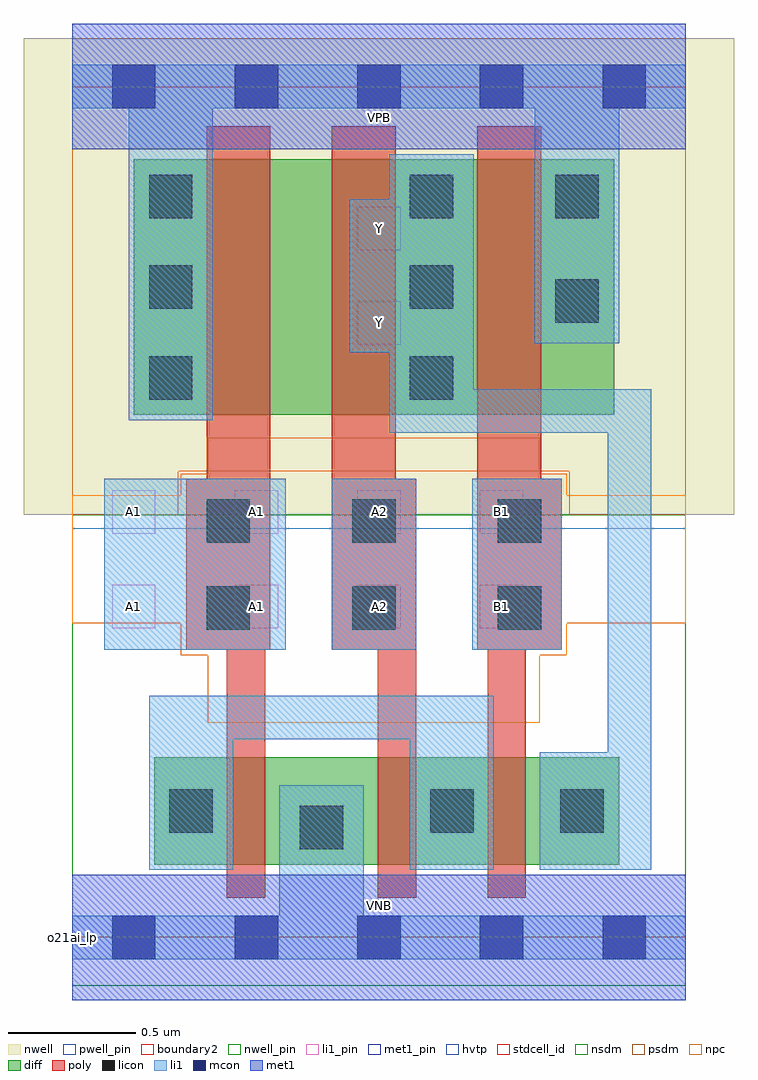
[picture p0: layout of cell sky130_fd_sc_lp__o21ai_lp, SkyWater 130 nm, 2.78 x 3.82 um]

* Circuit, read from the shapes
.subckt sky130_fd_sc_lp__o21ai_lp A1 A2 B1 VGND VNB VPB VPWR Y
XM1 VGND A1 n1 VNB sky130_fd_pr__nfet_01v8 w=0.42 l=0.15
XM2 n1 A2 VGND VNB sky130_fd_pr__nfet_01v8 w=0.42 l=0.15
XM3 Y B1 n1 VNB sky130_fd_pr__nfet_01v8 w=0.42 l=0.15
XM4 n2 A1 VPWR VPB sky130_fd_pr__pfet_01v8_hvt w=1 l=0.25
XM5 Y A2 n2 VPB sky130_fd_pr__pfet_01v8_hvt w=1 l=0.25
XM6 VPWR B1 Y VPB sky130_fd_pr__pfet_01v8_hvt w=1 l=0.25
.ends

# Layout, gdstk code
import gdstk
lib = gdstk.Library(unit=1e-6, precision=1e-09)
def R(c, l, rs):  # rectangles x0, y0, x1, y1
    for r in rs: c.add(gdstk.rectangle(r[:2], r[2:], *l))
def A(c, l, x, y, w, h, nx, ny, dx, dy):  # array of equal rectangles
    R(c, l, [(x+i*dx, y+j*dy, x+i*dx+w, y+j*dy+h) for i in range(nx) for j in range(ny)])
def P(c, l, *ps):  # polygons
    for p in ps: c.add(gdstk.Polygon(p, *l))
nwell_pin = (64, 16)
nwell = (64, 20)
diff = (65, 20)
poly = (66, 20)
licon = (66, 44)
li1_pin = (67, 16)
li1 = (67, 20)
mcon = (67, 44)
met1_pin = (68, 16)
met1 = (68, 20)
hvtp = (78, 44)
stdcell_id = (81, 4)
nsdm = (93, 44)
psdm = (94, 20)
npc = (95, 20)
pwell_pin = (122, 16)
boundary2 = (236, 0)

sky130_fd_sc_lp__o21ai_l = lib.new_cell('sky130_fd_sc_lp__o21ai_lp')
R(sky130_fd_sc_lp__o21ai_l, nwell_pin, [(0,3.085,2.4,3.33)])
R(sky130_fd_sc_lp__o21ai_l, nwell, [(-0.19,1.655,2.59,3.52)])
R(sky130_fd_sc_lp__o21ai_l, diff, [(0.32,0.285,2.14,0.705), (0.24,2.045,2.12,3.045)])
P(sky130_fd_sc_lp__o21ai_l, poly, [(0.775,3.175),(0.525,3.175),(0.525,1.795),(0.445,1.795),(0.445,1.125),(0.605,1.125),(0.605,0.155),(0.755,0.155),(0.755,1.125),(0.775,1.125)],
  [(1.345,1.795),(1.265,1.795),(1.265,3.175),(1.015,3.175),(1.015,1.125),(1.195,1.125),(1.195,0.155),(1.345,0.155)],
  [(1.915,1.795),(1.835,1.795),(1.835,3.175),(1.585,3.175),(1.585,1.125),(1.625,1.125),(1.625,0.155),(1.775,0.155),(1.775,1.125),(1.915,1.125)])
A(sky130_fd_sc_lp__o21ai_l, licon, 0.525, 1.205, 0.17, 0.17, 3, 2, 0.57, 0.34)
A(sky130_fd_sc_lp__o21ai_l, licon, 0.3, 2.105, 0.17, 0.17, 1, 3, 0, 0.355)
A(sky130_fd_sc_lp__o21ai_l, licon, 1.32, 2.105, 0.17, 0.17, 1, 3, 0, 0.355)
R(sky130_fd_sc_lp__o21ai_l, licon, [(0.89,0.345,1.06,0.515), (0.38,0.41,0.55,0.58), (1.4,0.41,1.57,0.58), (1.91,0.41,2.08,0.58), (1.89,2.405,2.06,2.575), (1.89,2.815,2.06,2.985)])
A(sky130_fd_sc_lp__o21ai_l, li1_pin, 0.155, 1.21, 0.17, 0.17, 4, 2, 0.48, 0.37)
R(sky130_fd_sc_lp__o21ai_l, li1_pin, [(1.115,2.32,1.285,2.49), (1.115,2.69,1.285,2.86)])
R(sky130_fd_sc_lp__o21ai_l, li1, [(0.125,1.125,0.835,1.795), (1.015,1.125,1.345,1.795), (1.565,1.125,1.915,1.795)])
P(sky130_fd_sc_lp__o21ai_l, li1, [(1.81,2.325),(1.81,3.245),(0.55,3.245),(0.55,2.025),(0.22,2.025),(0.22,3.245),(0,3.245),(0,3.415),(2.4,3.415),(2.4,3.245),(2.14,3.245),(2.14,2.325)],
  [(0.81,0.085),(0.81,0.595),(1.14,0.595),(1.14,0.085),(2.4,0.085),(2.4,-0.085),(0,-0.085),(0,0.085)],
  [(1.57,2.145),(2.265,2.145),(2.265,0.265),(1.83,0.265),(1.83,0.725),(2.095,0.725),(2.095,1.975),(1.24,1.975),(1.24,2.29),(1.085,2.29),(1.085,2.89),(1.24,2.89),(1.24,3.065),(1.57,3.065)],
  [(1.32,0.265),(1.32,0.775),(0.63,0.775),(0.63,0.265),(0.3,0.265),(0.3,0.945),(1.65,0.945),(1.65,0.265)])
A(sky130_fd_sc_lp__o21ai_l, mcon, 0.155, -0.085, 0.17, 0.17, 5, 2, 0.48, 3.33)
R(sky130_fd_sc_lp__o21ai_l, met1_pin, [(0,0,2.4,0.245), (0,3.085,2.4,3.33)])
R(sky130_fd_sc_lp__o21ai_l, met1, [(0,-0.245,2.4,0.245), (0,3.085,2.4,3.575)])
R(sky130_fd_sc_lp__o21ai_l, hvtp, [(0,1.6,2.4,3.33)])
R(sky130_fd_sc_lp__o21ai_l, stdcell_id, [(0,0,2.4,3.33)])
R(sky130_fd_sc_lp__o21ai_l, nsdm, [(0,-0.19,2.4,1.655)])
P(sky130_fd_sc_lp__o21ai_l, psdm, [(2.4,3.52),(0,3.52),(0,1.655),(0.415,1.655),(0.415,1.825),(1.945,1.825),(1.945,1.655),(2.4,1.655)])
P(sky130_fd_sc_lp__o21ai_l, npc, [(2.4,1.73),(1.935,1.73),(1.935,1.815),(1.83,1.815),(1.83,1.955),(0.53,1.955),(0.53,1.815),(0.425,1.815),(0.425,1.73),(0,1.73),(0,1.23),(0.425,1.23),(0.425,1.105),(0.53,1.105),(0.53,0.84),(1.83,0.84),(1.83,1.105),(1.935,1.105),(1.935,1.23),(2.4,1.23)])
R(sky130_fd_sc_lp__o21ai_l, pwell_pin, [(0,0,2.4,0.245)])
R(sky130_fd_sc_lp__o21ai_l, boundary2, [(0,0,2.4,3.33)])
sky130_fd_sc_lp__o21ai_l.add(gdstk.Label('VNB', (1.2,0.123), layer=64, texttype=59))
sky130_fd_sc_lp__o21ai_l.add(gdstk.Label('VPB', (1.2,3.208), layer=64, texttype=5))
sky130_fd_sc_lp__o21ai_l.add(gdstk.Label('o21ai_lp', (0,0), layer=83, texttype=44))
sky130_fd_sc_lp__o21ai_l.add(gdstk.Label('VPWR', (1.2,3.208), layer=68, texttype=5))
sky130_fd_sc_lp__o21ai_l.add(gdstk.Label('VGND', (1.2,0.123), layer=68, texttype=5))
sky130_fd_sc_lp__o21ai_l.add(gdstk.Label('Y', (1.2,2.405), layer=67, texttype=5))
sky130_fd_sc_lp__o21ai_l.add(gdstk.Label('Y', (1.2,2.775), layer=67, texttype=5))
sky130_fd_sc_lp__o21ai_l.add(gdstk.Label('B1', (1.68,1.295), layer=67, texttype=5))
sky130_fd_sc_lp__o21ai_l.add(gdstk.Label('B1', (1.68,1.665), layer=67, texttype=5))
sky130_fd_sc_lp__o21ai_l.add(gdstk.Label('A2', (1.2,1.295), layer=67, texttype=5))
sky130_fd_sc_lp__o21ai_l.add(gdstk.Label('A2', (1.2,1.665), layer=67, texttype=5))
sky130_fd_sc_lp__o21ai_l.add(gdstk.Label('A1', (0.24,1.295), layer=67, texttype=5))
sky130_fd_sc_lp__o21ai_l.add(gdstk.Label('A1', (0.24,1.665), layer=67, texttype=5))
sky130_fd_sc_lp__o21ai_l.add(gdstk.Label('A1', (0.72,1.295), layer=67, texttype=5))
sky130_fd_sc_lp__o21ai_l.add(gdstk.Label('A1', (0.72,1.665), layer=67, texttype=5))

lib.write_gds('sky130_fd_sc_lp__o21ai_lp.gds')
